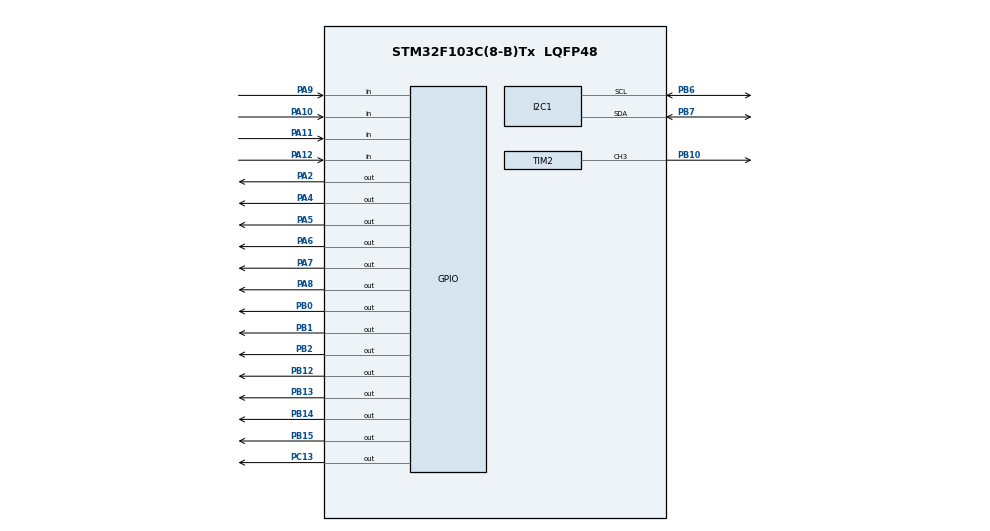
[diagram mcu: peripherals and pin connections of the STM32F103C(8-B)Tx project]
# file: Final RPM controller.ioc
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Mcu.Family=STM32F1
Mcu.Name=STM32F103C(8-B)Tx
Mcu.Package=LQFP48
NVIC.PriorityGroup=NVIC_PRIORITYGROUP_4
PA10.Signal=GPIO_Input
PA11.Signal=GPIO_Input
PA12.Signal=GPIO_Input
PA13.Mode=JTAG_5_pins
PA13.Signal=SYS_JTMS-SWDIO
PA14.Mode=JTAG_5_pins
PA14.Signal=SYS_JTCK-SWCLK
PA15.Mode=JTAG_5_pins
PA15.Signal=SYS_JTDI
PA2.Signal=GPIO_Output
PA4.Signal=GPIO_Output
PA5.Signal=GPIO_Output
PA6.Signal=GPIO_Output
PA7.Signal=GPIO_Output
PA8.Signal=GPIO_Output
PA9.Signal=GPIO_Input
PB0.Signal=GPIO_Output
PB1.Signal=GPIO_Output
PB10.Signal=S_TIM2_CH3
PB12.Signal=GPIO_Output
PB13.Signal=GPIO_Output
PB14.Signal=GPIO_Output
PB15.Signal=GPIO_Output
PB2.Signal=GPIO_Output
PB3.Mode=JTAG_5_pins
PB3.Signal=SYS_JTDO-TRACESWO
PB4.Mode=JTAG_5_pins
PB4.Signal=SYS_NJTRST
PB6.Mode=I2C
PB6.Signal=I2C1_SCL
PB7.Mode=I2C
PB7.Signal=I2C1_SDA
PC13-TAMPER-RTC.Signal=GPIO_Output
ProjectManager.HeapSize=0x200
ProjectManager.StackSize=0x400
ProjectManager.TargetToolchain=MDK-ARM V5.27
RCC.APB1Freq_Value=8000000
RCC.APB2Freq_Value=8000000
SH.S_TIM2_CH3.0=TIM2_CH3,Output Compare3 CH3
TIM2.Channel-Output\ Compare3\ CH3=TIM_CHANNEL_3
TIM2.OCMode_3=TIM_OCMODE_TOGGLE
TIM2.Period=20
TIM2.Prescaler=999
TIM2.Pulse-Output\ Compare3\ CH3=10
board=custom

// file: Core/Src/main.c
/* USER CODE BEGIN Header */
/**
  ******************************************************************************
  * @file           : main.c
  * @brief          : Main program body
  ******************************************************************************
  * @attention
  *
  * <h2><center>&copy; Copyright (c) 2020 STMicroelectronics.
  * All rights reserved.</center></h2>
  *
  * This software component is licensed by ST under BSD 3-Clause license,
  * the "License"; You may not use this file except in compliance with the
  * License. You may obtain a copy of the License at:
  *                        opensource.org/licenses/BSD-3-Clause
  *
  ******************************************************************************
  */
/* USER CODE END Header */
#include "main.h"

/* USER CODE BEGIN Includes */
#include "stepper.h"
#include "GUI.h"
#include "keypad.h"
#include <string.h>
#include <stdio.h>
#include "PID.h"
//#include "ssd1306.h"
/* USER CODE END Includes */

/* USER CODE BEGIN PTD */
volatile int32_t Frequency = 1;
void WriteScreen(int val);
char content[3];
int val;
volatile int Freq_val = 10;
volatile uint32_t IC_Value1 = 0;
volatile uint32_t IC_Value2 = 0;
volatile uint32_t Difference = 0;
volatile uint8_t Is_First_Captured = 0;  // 0- not captured, 1- captured
//bool keys[20];
char * pressed_char;
//uint8_t curser[2] = {0,0};
//int8_t curser_state = 0;
uint8_t xStep = 11;
//uint8_t blink_speed =2;
//uint8_t blink_counter =0;
uint16_t dutyCycle;
application_windows myapp;

/* USER CODE END PTD */

I2C_HandleTypeDef hi2c1;

TIM_HandleTypeDef htim2;

void SystemClock_Config(void);
static void MX_GPIO_Init(void);
static void MX_I2C1_Init(void);
static void MX_TIM2_Init(void);
/* USER CODE BEGIN PFP */
static void keypad_Init(void);
void stepper_Init(void);
//void set_rpm(uint16_t input_number);

/* USER CODE END PFP */

int main(void)
{
  /* USER CODE BEGIN 1 */

	myapp.mainwin.name = "H";
	myapp.menu.name = "B";

	GUI_menu__init__(&myapp.menu);
	GUI_about__init__(&myapp.about);
	GUI_mainwindow__init__(&myapp.mainwin);
	GUI_show_speed__init__(&myapp.speed_show);
	GUI_set_speed__init__(&myapp.speed_set);
	GUI_settingSpeed__init__(&myapp.setting_speed);
	GUI_invalid__init__(&myapp.invalid);

  /* USER CODE END 1 */

  /* MCU Configuration--------------------------------------------------------*/

  /* Reset of all peripherals, Initializes the Flash interface and the Systick. */
  HAL_Init();

  /* Configure the system clock */
  SystemClock_Config();

  /* Initialize all configured peripherals */
  MX_GPIO_Init();
  MX_I2C1_Init();
  MX_TIM2_Init();
  /* USER CODE BEGIN 2 */

  ssd1306_Init();
  keypad_Init();
  stepper_Init();
  HAL_TIM_OC_Start(&htim2, TIM_CHANNEL_3);
  /* USER CODE END 2 */

  /* Infinite loop */
  /* USER CODE BEGIN WHILE */
  HAL_GPIO_WritePin(GPIOA, GPIO_PIN_1, GPIO_PIN_RESET);
   HAL_GPIO_WritePin(GPIOC, GPIO_PIN_13, GPIO_PIN_RESET);
   /*
  HAL_Delay(500);
  ssd1306_Fill(White);
  ssd1306_UpdateScreen();
  HAL_Delay(500);
  ssd1306_SetCursor(23,23);
  ssd1306_WriteString("4ilo",Font_11x18,Black);
  ssd1306_UpdateScreen();
   */
  GUI_newScreen();
  window new_window = myapp.menu;
  new_window.status = 1;

  //__HAL_TIM_SET_AUTORELOAD(&htim2, (int) 60000/(100) - 1);

  //__HAL_TIM_SET_PRESCALER(&htim2, (int) 60000/(100) - 1);
  while (1)
  {

	  //HAL_GPIO_TogglePin(GPIOA, GPIO_PIN_1);
	  //HAL_GPIO_WritePin(GPIOC, GPIO_PIN_13, GPIO_PIN_SET);
	  //HAL_Delay(100);
	  //HAL_GPIO_WritePin(GPIOC, GPIO_PIN_13, GPIO_PIN_RESET);
	  //,HAL_Delay(100);

    /* USER CODE END WHILE */

    /* USER CODE BEGIN 3 */

	  HAL_Delay(100);
	  HAL_GPIO_TogglePin(GPIOC, GPIO_PIN_12);
	  new_window = GUI_router(&new_window, &myapp);
	  HAL_Delay(100);

  }
  /* USER CODE END 3 */
}

void SystemClock_Config(void)
{
  RCC_OscInitTypeDef RCC_OscInitStruct = {0};
  RCC_ClkInitTypeDef RCC_ClkInitStruct = {0};

  /** Initializes the RCC Oscillators according to the specified parameters
  * in the RCC_OscInitTypeDef structure.
  */
  RCC_OscInitStruct.OscillatorType = RCC_OSCILLATORTYPE_HSI;
  RCC_OscInitStruct.HSIState = RCC_HSI_ON;
  RCC_OscInitStruct.HSICalibrationValue = RCC_HSICALIBRATION_DEFAULT;
  RCC_OscInitStruct.PLL.PLLState = RCC_PLL_NONE;
  if (HAL_RCC_OscConfig(&RCC_OscInitStruct) != HAL_OK)
  {
    Error_Handler();
  }
  /** Initializes the CPU, AHB and APB buses clocks
  */
  RCC_ClkInitStruct.ClockType = RCC_CLOCKTYPE_HCLK|RCC_CLOCKTYPE_SYSCLK
                              |RCC_CLOCKTYPE_PCLK1|RCC_CLOCKTYPE_PCLK2;
  RCC_ClkInitStruct.SYSCLKSource = RCC_SYSCLKSOURCE_HSI;
  RCC_ClkInitStruct.AHBCLKDivider = RCC_SYSCLK_DIV1;
  RCC_ClkInitStruct.APB1CLKDivider = RCC_HCLK_DIV1;
  RCC_ClkInitStruct.APB2CLKDivider = RCC_HCLK_DIV1;

  if (HAL_RCC_ClockConfig(&RCC_ClkInitStruct, FLASH_LATENCY_0) != HAL_OK)
  {
    Error_Handler();
  }
}

static void MX_I2C1_Init(void)
{

  hi2c1.Instance = I2C1;
  hi2c1.Init.ClockSpeed = 100000;
  hi2c1.Init.DutyCycle = I2C_DUTYCYCLE_2;
  hi2c1.Init.OwnAddress1 = 0;
  hi2c1.Init.AddressingMode = I2C_ADDRESSINGMODE_7BIT;
  hi2c1.Init.DualAddressMode = I2C_DUALADDRESS_DISABLE;
  hi2c1.Init.OwnAddress2 = 0;
  hi2c1.Init.GeneralCallMode = I2C_GENERALCALL_DISABLE;
  hi2c1.Init.NoStretchMode = I2C_NOSTRETCH_DISABLE;
  if (HAL_I2C_Init(&hi2c1) != HAL_OK)
  {
    Error_Handler();
  }

}

static void MX_TIM2_Init(void)
{

  TIM_MasterConfigTypeDef sMasterConfig = {0};
  TIM_OC_InitTypeDef sConfigOC = {0};

  htim2.Instance = TIM2;
  htim2.Init.Prescaler = 999;
  htim2.Init.CounterMode = TIM_COUNTERMODE_UP;
  htim2.Init.Period = 20;
  htim2.Init.ClockDivision = TIM_CLOCKDIVISION_DIV1;
  htim2.Init.AutoReloadPreload = TIM_AUTORELOAD_PRELOAD_DISABLE;
  if (HAL_TIM_OC_Init(&htim2) != HAL_OK)
  {
    Error_Handler();
  }
  sMasterConfig.MasterOutputTrigger = TIM_TRGO_RESET;
  sMasterConfig.MasterSlaveMode = TIM_MASTERSLAVEMODE_DISABLE;
  if (HAL_TIMEx_MasterConfigSynchronization(&htim2, &sMasterConfig) != HAL_OK)
  {
    Error_Handler();
  }
  sConfigOC.OCMode = TIM_OCMODE_TOGGLE;
  sConfigOC.Pulse = 10;
  sConfigOC.OCPolarity = TIM_OCPOLARITY_HIGH;
  sConfigOC.OCFastMode = TIM_OCFAST_DISABLE;
  if (HAL_TIM_OC_ConfigChannel(&htim2, &sConfigOC, TIM_CHANNEL_3) != HAL_OK)
  {
    Error_Handler();
  }
  HAL_TIM_MspPostInit(&htim2);

}

static void MX_GPIO_Init(void)
{
  GPIO_InitTypeDef GPIO_InitStruct = {0};

  /* GPIO Ports Clock Enable */
  __HAL_RCC_GPIOC_CLK_ENABLE();
  __HAL_RCC_GPIOA_CLK_ENABLE();
  __HAL_RCC_GPIOB_CLK_ENABLE();

  /*Configure GPIO pin Output Level */
  HAL_GPIO_WritePin(GPIOC, GPIO_PIN_13, GPIO_PIN_RESET);

  /*Configure GPIO pin Output Level */
  HAL_GPIO_WritePin(GPIOA, GPIO_PIN_2|GPIO_PIN_4|GPIO_PIN_5|GPIO_PIN_6
                          |GPIO_PIN_7|GPIO_PIN_8, GPIO_PIN_RESET);

  /*Configure GPIO pin Output Level */
  HAL_GPIO_WritePin(GPIOB, GPIO_PIN_0|GPIO_PIN_1|GPIO_PIN_2|GPIO_PIN_12
                          |GPIO_PIN_13|GPIO_PIN_14|GPIO_PIN_15, GPIO_PIN_RESET);

  /*Configure GPIO pin : PC13 */
  GPIO_InitStruct.Pin = GPIO_PIN_13;
  GPIO_InitStruct.Mode = GPIO_MODE_OUTPUT_PP;
  GPIO_InitStruct.Pull = GPIO_NOPULL;
  GPIO_InitStruct.Speed = GPIO_SPEED_FREQ_LOW;
  HAL_GPIO_Init(GPIOC, &GPIO_InitStruct);

  /*Configure GPIO pins : PA2 PA4 PA5 PA6
                           PA7 PA8 */
  GPIO_InitStruct.Pin = GPIO_PIN_2|GPIO_PIN_4|GPIO_PIN_5|GPIO_PIN_6
                          |GPIO_PIN_7|GPIO_PIN_8;
  GPIO_InitStruct.Mode = GPIO_MODE_OUTPUT_PP;
  GPIO_InitStruct.Pull = GPIO_NOPULL;
  GPIO_InitStruct.Speed = GPIO_SPEED_FREQ_LOW;
  HAL_GPIO_Init(GPIOA, &GPIO_InitStruct);

  /*Configure GPIO pins : PB0 PB1 PB2 PB12
                           PB13 PB14 PB15 */
  GPIO_InitStruct.Pin = GPIO_PIN_0|GPIO_PIN_1|GPIO_PIN_2|GPIO_PIN_12
                          |GPIO_PIN_13|GPIO_PIN_14|GPIO_PIN_15;
  GPIO_InitStruct.Mode = GPIO_MODE_OUTPUT_PP;
  GPIO_InitStruct.Pull = GPIO_NOPULL;
  GPIO_InitStruct.Speed = GPIO_SPEED_FREQ_LOW;
  HAL_GPIO_Init(GPIOB, &GPIO_InitStruct);

  /*Configure GPIO pins : PA9 PA10 PA11 PA12 */
  GPIO_InitStruct.Pin = GPIO_PIN_9|GPIO_PIN_10|GPIO_PIN_11|GPIO_PIN_12;
  GPIO_InitStruct.Mode = GPIO_MODE_INPUT;
  GPIO_InitStruct.Pull = GPIO_NOPULL;
  HAL_GPIO_Init(GPIOA, &GPIO_InitStruct);

}

/* USER CODE BEGIN 4 */

static void keypad_Init(void){
	keypad_typedef keypad_struct;

	keypad_struct.COL0_port = GPIOA;
	keypad_struct.COL1_port = GPIOA;
	keypad_struct.COL2_port = GPIOA;
	keypad_struct.COL3_port = GPIOA;

	keypad_struct.ROW0_port = GPIOB;
	keypad_struct.ROW1_port = GPIOB;
	keypad_struct.ROW2_port = GPIOB;
	keypad_struct.ROW3_port = GPIOB;
	keypad_struct.ROW4_port = GPIOA;

	keypad_struct.COL0_pin = GPIO_PIN_12;
	keypad_struct.COL1_pin = GPIO_PIN_11;
	keypad_struct.COL2_pin = GPIO_PIN_10;
	keypad_struct.COL3_pin = GPIO_PIN_9;

	keypad_struct.ROW0_pin = GPIO_PIN_12;
	keypad_struct.ROW1_pin = GPIO_PIN_13;
	keypad_struct.ROW2_pin = GPIO_PIN_14;
	keypad_struct.ROW3_pin = GPIO_PIN_15;
	keypad_struct.ROW4_pin = GPIO_PIN_8;

	keypad_init(&keypad_struct);

}

void stepper_Init(void){

	stepper_typedef stepper_struct;

	stepper_struct.PFD = GPIOA;
	stepper_struct.RST = GPIOA;
	stepper_struct.ENB = GPIOA;
	stepper_struct.MS1 = GPIOB;
	stepper_struct.DIR = GPIOB;
	stepper_struct.SLP = GPIOA;
	stepper_struct.MS2 = GPIOB;

	// don't uncomment. just for note: stepper_struct.STEP = TIM2_CH3 = PB10

	stepper_struct.PFD_pin = GPIO_PIN_4;
	stepper_struct.RST_pin = GPIO_PIN_5;
	stepper_struct.ENB_pin = GPIO_PIN_6;
	stepper_struct.MS1_pin = GPIO_PIN_0;
	stepper_struct.DIR_pin = GPIO_PIN_2;
	stepper_struct.SLP_pin = GPIO_PIN_7;
	stepper_struct.MS2_pin = GPIO_PIN_1;
	stepper_init(&stepper_struct);

}
/* USER CODE END 4 */

void Error_Handler(void)
{
}

/************************ (C) COPYRIGHT STMicroelectronics *****END OF FILE****/
